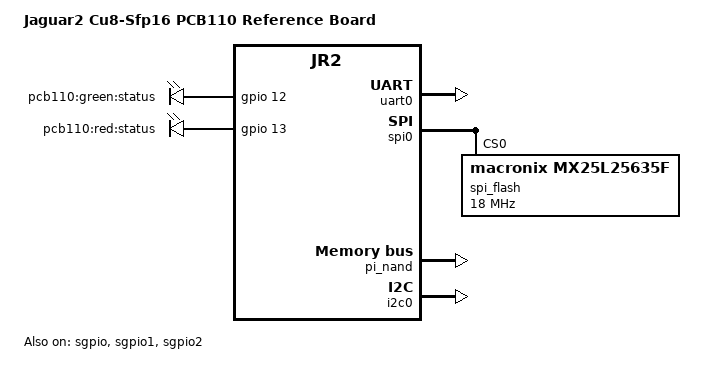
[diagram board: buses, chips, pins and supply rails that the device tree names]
// SPDX-License-Identifier: (GPL-2.0+ OR MIT)
/*
 * Copyright (c) 2018 Microsemi Corporation
 */

/dts-v1/;
#include "jaguar2.dtsi"

/ {
	model = "Jaguar2 Cu8-Sfp16 PCB110 Reference Board";
	compatible = "mscc,jr2-pcb110", "mscc,jr2";

	aliases {
		spi0 = &spi0;
		serial0 = &uart0;
	};

	chosen {
		stdout-path = "serial0:115200n8";
	};

	gpio-leds {
		compatible = "gpio-leds";

		status_green {
			label = "pcb110:green:status";
                        gpios = <&gpio 12 0>;
                        default-state = "on";
		};

		status_red {
			label = "pcb110:red:status";
			gpios = <&gpio 13 0>;
                        default-state = "off";
		};
	};
};

&uart0 {
	status = "okay";
};

&spi0 {
	status = "okay";
	spi-flash@0 {
		label = "spi_flash";
		compatible = "macronix,mx25l25635f", "jedec,spi-nor";
		spi-max-frequency = <18000000>; /* input clock */
		reg = <0>; /* CS0 */
	};
};

&pi_nand {
	status = "okay";
	chip-delay = <100>; // MX30LF1GE8AB with internal ECC has 45-70 us tR_ECC
	waitcc = <8>;       // Slow down NAND CS via waitcc - appx 77ns
	partitions {
		compatible = "fixed-partitions";
		#address-cells = <1>;
		#size-cells = <1>;
		/* 256MiB */
		partition@0 {
			    label = "rootfs_data";
			    reg = <0x0000000 0x08000000>;
		};
	};
};

&i2c0 {
	status = "okay";
	i2c-sda-hold-time-ns = <300>;
};

&gpio {
	// SPIO only use DO, CLK, no inputs
	sgpio1_pins: sgpio1-pins {
		pins = "GPIO_4", "GPIO_5";
		function = "sio1";
	};
};

&sgpio {
	status = "okay";
	sgpio-ports = <0x00ffffff>;
};

&sgpio1 {
	status = "okay";
	sgpio-ports = <0x00ff0000>;
};

&sgpio2 {
	status = "okay";
	sgpio-ports = <0x3f00ffff>;
	gpio-ranges = <&sgpio2 0 0 96>;
};
